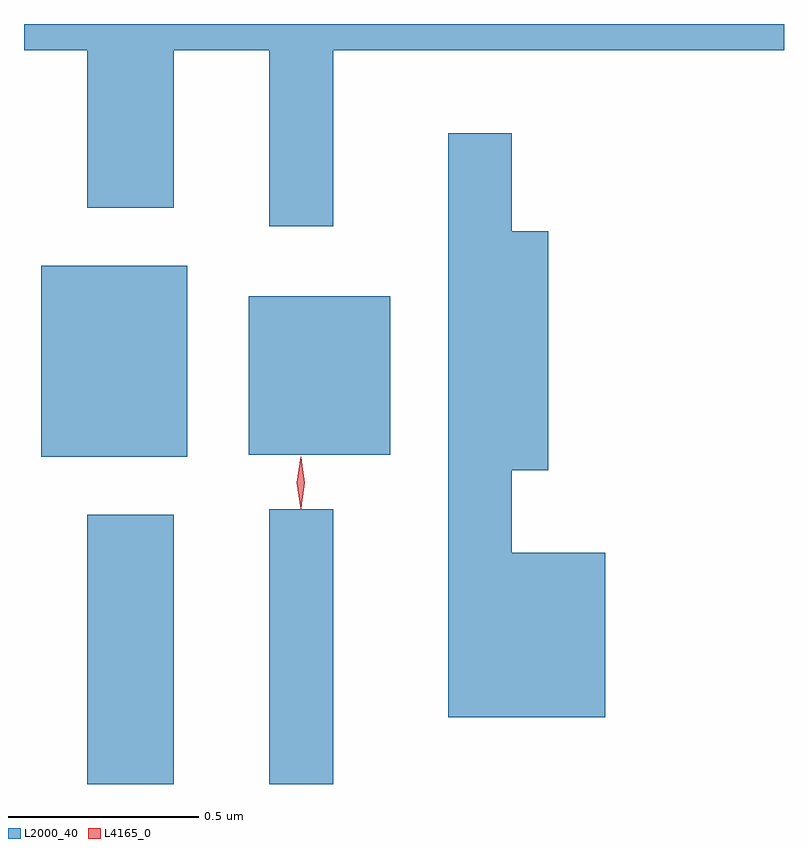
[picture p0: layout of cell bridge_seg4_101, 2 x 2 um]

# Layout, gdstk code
import gdstk
lib = gdstk.Library(unit=1e-6, precision=1e-09)
def R(c, l, rs):  # rectangles x0, y0, x1, y1
    for r in rs: c.add(gdstk.rectangle(r[:2], r[2:], *l))
def P(c, l, *ps):  # polygons
    for p in ps: c.add(gdstk.Polygon(p, *l))
L2000_40 = (2000, 40)
L4165_0 = (4165, 0)

bridge_seg4_101 = lib.new_cell('bridge_seg4_101')
R(bridge_seg4_101, L2000_40, [(777.271,1368.285,777.499,1368.994), (777.751,1368.285,777.919,1369.008), (777.151,1369.146,777.534,1369.649), (777.696,1369.151,778.069,1369.569)])
P(bridge_seg4_101, L2000_40, [(777.919,1370.216),(779.105,1370.216),(779.105,1370.285),(777.105,1370.285),(777.105,1370.216),(777.271,1370.216),(777.271,1369.801),(777.499,1369.801),(777.499,1370.216),(777.751,1370.216),(777.751,1369.753),(777.919,1369.753)],
  [(778.634,1368.894),(778.389,1368.894),(778.389,1369.111),(778.484,1369.111),(778.484,1369.739),(778.389,1369.739),(778.389,1369.998),(778.221,1369.998),(778.221,1368.461),(778.634,1368.461)])
P(bridge_seg4_101, L4165_0, [(777.833,1369.01),(777.833,1369.01),(777.823,1369.078),(777.833,1369.146),(777.833,1369.146),(777.834,1369.146),(777.843,1369.078),(777.834,1369.01)],
  [(777.833,1369.013),(777.823,1369.078),(777.833,1369.141),(777.834,1369.142),(777.834,1369.141),(777.844,1369.078),(777.834,1369.013),(777.834,1369.013)])

lib.write_gds('bridge_seg4_101.gds')
